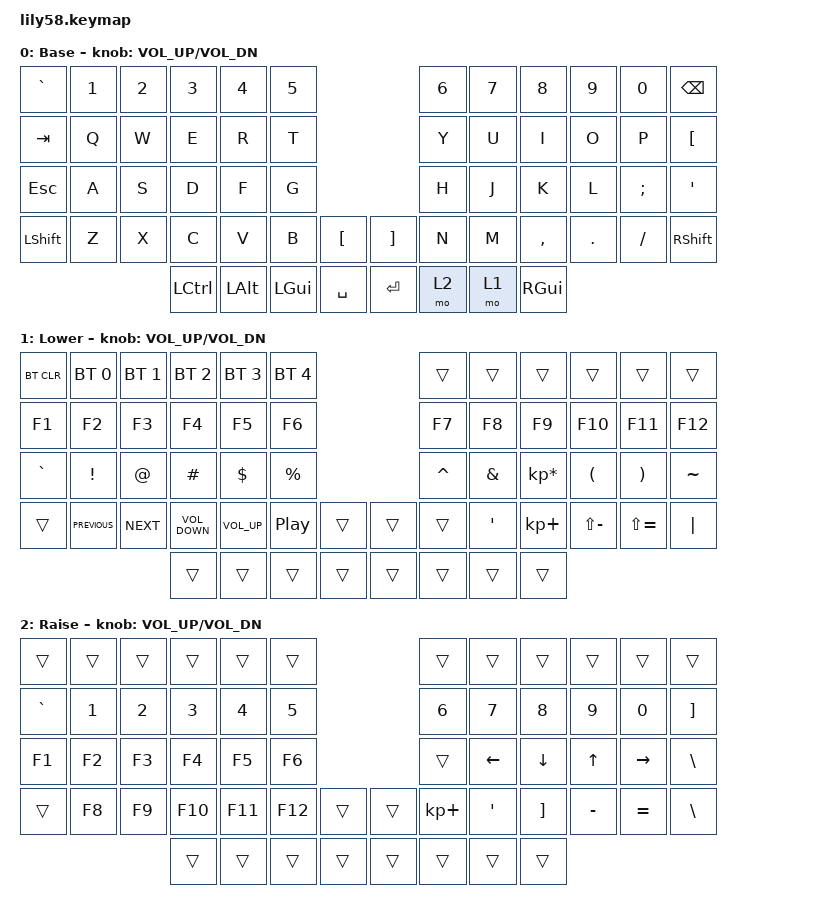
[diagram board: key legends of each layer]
/*
 * Copyright (c) 2020 The ZMK Contributors
 *
 * SPDX-License-Identifier: MIT
 */

#include <behaviors.dtsi>
#include <dt-bindings/zmk/bt.h>
#include <dt-bindings/zmk/keys.h>

/ {
    keymap {
        compatible = "zmk,keymap";

        default_layer {
            // ------------------------------------------------------------------------------------------------------------
            // | CTRL  |  1  |  2  |  3   |  4   |  5   |                   |  6   |  7    |  8    |  9   |   0   |   `   |
            // |  TAB  |  '  |  ,  |  .   |  P   |  Y   |                   |  F   |  G    |  C    |  R   |   L   |   /   |
            // |  ESC  |  A  |  O  |  E   |  U   |  I   |                   |  D   |  H    |  T    |  N   |   S   |   -   |
            // | SHIFT |  :  |  Q  |  J   |  K   |  X   |   "["  |  |  "]"  |  B   |  M    |  W    |  V   |   Z   | SHIFT |
            //                     | ALT  | GUI  | LOWER|  SPACE |  | ENTER | RAISE| BSPC  | GUI   |

            display-name = "Base";
            bindings = <
&kp GRAVE  &kp N1  &kp N2  &kp N3     &kp N4        &kp N5                                        &kp N6  &kp N7  &kp N8     &kp N9      &kp N0         &kp BACKSPACE
&kp TAB    &kp Q   &kp W   &kp E      &kp R         &kp T                                         &kp Y   &kp U   &kp I      &kp O       &kp P          &kp LEFT_BRACKET
&kp ESC    &kp A   &kp S   &kp D      &kp F         &kp G                                         &kp H   &kp J   &kp K      &kp L       &kp SEMICOLON  &kp SINGLE_QUOTE
&kp LSHFT  &kp Z   &kp X   &kp C      &kp V         &kp B         &kp LBKT     &kp RIGHT_BRACKET  &kp N   &kp M   &kp COMMA  &kp PERIOD  &kp SLASH      &kp RSHFT
                           &kp LCTRL  &kp LEFT_ALT  &kp LEFT_GUI  &kp SPACE    &kp RET            &mo 2   &mo 1   &kp RGUI
            >;

            sensor-bindings = <&inc_dec_kp C_VOL_UP C_VOL_DN>;
        };

        lower_layer {
            // ------------------------------------------------------------------------------------------------------------
            // | BTCLR | BT1 | BT2 |  BT3 |  BT4 |  BT5 |                   |      |       |       |      |       |       |
            // |  F1   |  F2 |  F3 |  F4  |  F5  |  F6  |                   |  F7  |  F8   |  F9   |  F10 |  F11  |  F12  |
            // |   `   |  !  |  @  |  #   |  $   |  %   |                   |  ^   |  &    |  *    |  (   |   )   |   ~   |
            // | CTRL  |  `  |     |      |      |      |        |  |       |      |  _    |  +    |  {   |   }   |  "|"  |
            //                     |      |      |      |        |  |       |      |       |       |

            display-name = "Lower";
            bindings = <
&bt BT_CLR  &bt BT_SEL 0    &bt BT_SEL 1  &bt BT_SEL 2       &bt BT_SEL 3     &bt BT_SEL 4                        &trans     &trans            &trans           &trans         &trans         &trans
&kp F1      &kp F2          &kp F3        &kp F4             &kp F5           &kp F6                              &kp F7     &kp F8            &kp F9           &kp F10        &kp F11        &kp F12
&kp GRAVE   &kp EXCL        &kp AT        &kp HASH           &kp DOLLAR       &kp PRCNT                           &kp CARET  &kp AMPS          &kp KP_MULTIPLY  &kp LPAR       &kp RPAR       &kp TILDE
&trans      &kp C_PREVIOUS  &kp C_NEXT    &kp C_VOLUME_DOWN  &kp C_VOLUME_UP  &kp C_PLAY_PAUSE  &trans    &trans  &trans     &kp SINGLE_QUOTE  &kp KP_PLUS      &kp LS(MINUS)  &kp LS(EQUAL)  &kp PIPE
                                          &trans             &trans           &trans            &trans    &trans  &trans     &trans            &trans
            >;

            sensor-bindings = <&inc_dec_kp C_VOL_UP C_VOL_DN>;
        };

        raise_layer {
            // ------------------------------------------------------------------------------------------------------------
            // |       |     |     |      |      |      |                   |      |       |       |      |       |       |
            // |   `   |  1  |  2  |  3   |  4   |  5   |                   |  6   |   7   |   8   |  9   |   0   |       |
            // |   F1  |  F2 |  F3 |  F4  |  F5  |  F6  |                   |      |   <-  |   v   |  ^   |  ->   |       |
            // |   F7  |  F8 |  F9 |  F10 |  F11 |  F12 |        |  |       |  +   |   -   |   =   |  [   |   ]   |   \   |
            //                     |      |      |      |        |  |       |      |       |       |

            display-name = "Raise";
            bindings = <
&trans     &trans  &trans  &trans   &trans   &trans                     &trans       &trans            &trans             &trans     &trans     &trans
&kp GRAVE  &kp N1  &kp N2  &kp N3   &kp N4   &kp N5                     &kp N6       &kp N7            &kp N8             &kp N9     &kp N0     &kp RIGHT_BRACKET
&kp F1     &kp F2  &kp F3  &kp F4   &kp F5   &kp F6                     &trans       &kp LEFT          &kp DOWN           &kp UP     &kp RIGHT  &kp BACKSLASH
&trans     &kp F8  &kp F9  &kp F10  &kp F11  &kp F12  &trans    &trans  &kp KP_PLUS  &kp SINGLE_QUOTE  &kp RIGHT_BRACKET  &kp MINUS  &kp EQUAL  &kp BSLH
                           &trans   &trans   &trans   &trans    &trans  &trans       &trans            &trans
            >;

            sensor-bindings = <&inc_dec_kp C_VOL_UP C_VOL_DN>;
        };
    };
};
